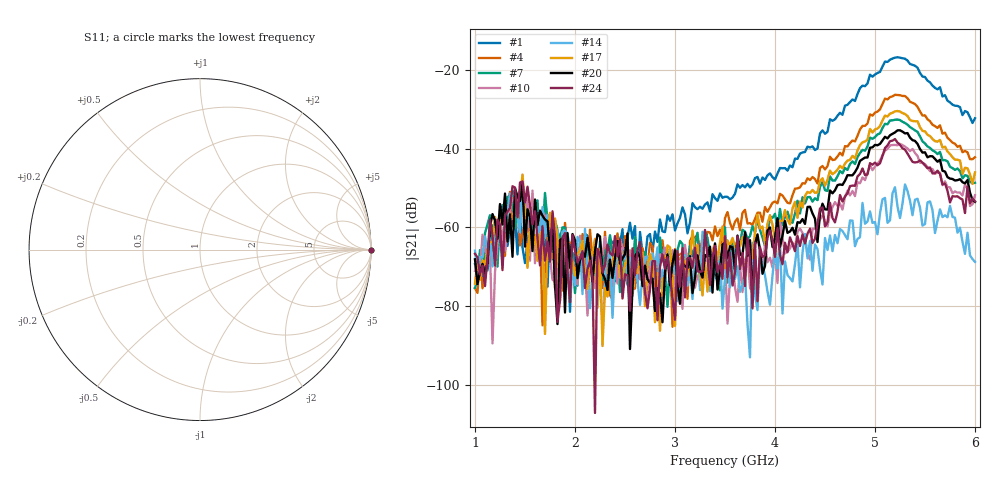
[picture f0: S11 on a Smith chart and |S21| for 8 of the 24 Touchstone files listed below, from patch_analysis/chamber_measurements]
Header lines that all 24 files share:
!Keysight Technologies N9926A: A.08.19
!Timezone: (GMT-06:00) Central Time (US & Canada)
!Model: N9926A
!Serial: MY53102721
!GPS Latitude:
!GPS Longitude:
!GPS TimeStamp: 0001-01-01 00:00:00Z
!GPS Seconds Since Last Read: 0
!Correction: S11()S21(ON U)S12()S22()
!S2P File: Measurements:S11,S21,S12,S22:
# Hz S DB R 50
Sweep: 1 GHz to 6 GHz
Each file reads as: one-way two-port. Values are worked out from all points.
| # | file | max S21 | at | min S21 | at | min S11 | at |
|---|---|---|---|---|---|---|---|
| 1 | 10.s2p | -16.83 dB | 5.225 GHz | -81.4 dB | 1.95 GHz | 0.0 dB | 1 GHz |
| 2 | 20.s2p | -25.14 dB | 5.3 GHz | -84.3 dB | 1.85 GHz | 0.0 dB | 1 GHz |
| 3 | 30.s2p | -27.83 dB | 5.25 GHz | -89.5 dB | 2.425 GHz | 0.0 dB | 1 GHz |
| 4 | 30Q10.s2p | -26.36 dB | 5.2 GHz | -85.2 dB | 2.975 GHz | 0.0 dB | 1 GHz |
| 5 | 30Q20.s2p | -27.35 dB | 5.25 GHz | -89.7 dB | 2.775 GHz | 0.0 dB | 1 GHz |
| 6 | 30Q30.s2p | -29.08 dB | 5.25 GHz | -85.3 dB | 2.35 GHz | 0.0 dB | 1 GHz |
| 7 | 30Q50.s2p | -32.65 dB | 5.225 GHz | -80.2 dB | 2.925 GHz | 0.0 dB | 1 GHz |
| 8 | 30Q60.s2p | -34.22 dB | 5.225 GHz | -86.7 dB | 3.025 GHz | 0.0 dB | 1 GHz |
| 9 | 30Q80.s2p | -37.64 dB | 5.225 GHz | -89.3 dB | 2 GHz | 0.0 dB | 1 GHz |
| 10 | 30Q90.s2p | -38.81 dB | 5.25 GHz | -89.5 dB | 1.175 GHz | 0.0 dB | 1 GHz |
| 11 | 30Q110.s2p | -42.08 dB | 5.275 GHz | -89.8 dB | 4.075 GHz | 0.0 dB | 1 GHz |
| 12 | 30Q130.s2p | -46.38 dB | 5.275 GHz | -94.4 dB | 2.975 GHz | 0.0 dB | 1 GHz |
| 13 | 30Q160.s2p | -50.83 dB | 1.35 GHz | -90.3 dB | 1.15 GHz | 0.0 dB | 1 GHz |
| 14 | 30Q170.s2p | -47.54 dB | 1.475 GHz | -93.0 dB | 3.75 GHz | 0.0 dB | 1 GHz |
| 15 | 30Q180.s2p | -48.06 dB | 1.375 GHz | -89.5 dB | 3.55 GHz | 0.0 dB | 1 GHz |
| 16 | 50.s2p | -33.21 dB | 5.225 GHz | -106.6 dB | 1 GHz | 0.0 dB | 1 GHz |
| 17 | 50Q.s2p | -30.48 dB | 5.225 GHz | -90.1 dB | 2.275 GHz | 0.0 dB | 1 GHz |
| 18 | 70.s2p | -33.84 dB | 5.3 GHz | -85.3 dB | 2.75 GHz | 0.0 dB | 1 GHz |
| 19 | 80.s2p | -34.67 dB | 5.3 GHz | -93.6 dB | 2.7 GHz | 0.0 dB | 1 GHz |
| 20 | 90.s2p | -35.37 dB | 5.25 GHz | -90.9 dB | 2.55 GHz | 0.0 dB | 1 GHz |
| 21 | 100.s2p | -36.08 dB | 5.25 GHz | -85.1 dB | 3.4 GHz | 0.0 dB | 1 GHz |
| 22 | 110.s2p | -36.92 dB | 5.2 GHz | -107.0 dB | 3.1 GHz | 0.0 dB | 1 GHz |
| 23 | 120.s2p | -38.52 dB | 5.125 GHz | -85.0 dB | 3.55 GHz | 0.0 dB | 1 GHz |
| 24 | 140.s2p | -37.58 dB | 5.2 GHz | -107.1 dB | 2.2 GHz | 0.0 dB | 1 GHz |
